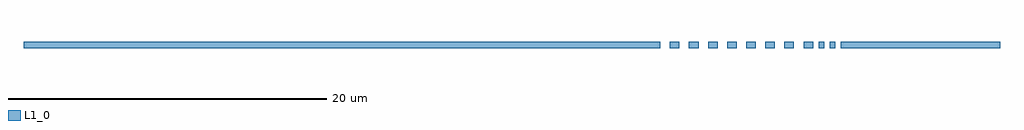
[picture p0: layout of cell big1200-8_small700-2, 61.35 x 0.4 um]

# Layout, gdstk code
import gdstk
lib = gdstk.Library(unit=1e-6, precision=1e-09)
def R(c, l, rs):  # rectangles x0, y0, x1, y1
    for r in rs: c.add(gdstk.rectangle(r[:2], r[2:], *l))
def A(c, l, x, y, w, h, nx, ny, dx, dy):  # array of equal rectangles
    R(c, l, [(x+i*dx, y+j*dy, x+i*dx+w, y+j*dy+h) for i in range(nx) for j in range(ny)])
L1_0 = (1, 0)

big1200_8_small700_2 = lib.new_cell('big1200-8_small700-2')
A(big1200_8_small700_2, L1_0, 0.6, 0, 0.6, 0.4, 8, 1, 1.2, 0)
R(big1200_8_small700_2, L1_0, [(-40,0,0,0.4), (9.95,0,10.3,0.4), (10.65,0,11,0.4), (11.35,0,21.35,0.4)])

lib.write_gds('big1200-8_small700-2.gds')
